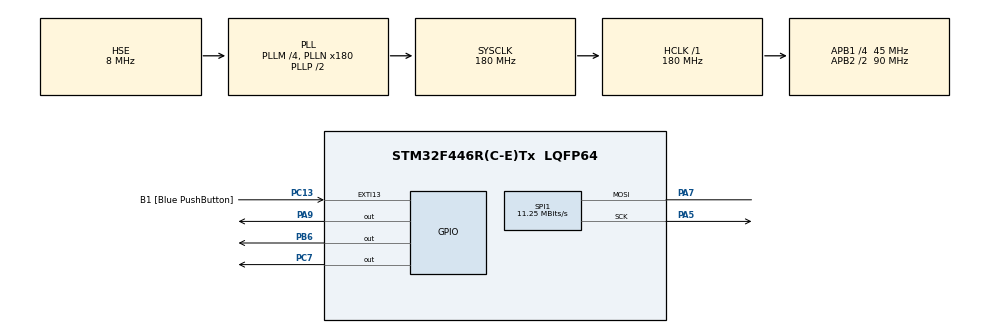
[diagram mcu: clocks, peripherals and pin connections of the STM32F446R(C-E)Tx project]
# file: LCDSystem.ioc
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Mcu.Family=STM32F4
Mcu.Name=STM32F446R(C-E)Tx
Mcu.Package=LQFP64
NVIC.PriorityGroup=NVIC_PRIORITYGROUP_0
PA13.GPIO_Label=TMS
PA13.Mode=Serial_Wire
PA13.Signal=SYS_JTMS-SWDIO
PA14.GPIO_Label=TCK
PA14.Mode=Serial_Wire
PA14.Signal=SYS_JTCK-SWCLK
PA2.GPIO_Label=USART_TX
PA2.Signal=USART2_TX
PA3.GPIO_Label=USART_RX
PA3.Signal=USART2_RX
PA5.Mode=Simplex_Bidirectional_Master
PA5.Signal=SPI1_SCK
PA7.Mode=Simplex_Bidirectional_Master
PA7.Signal=SPI1_MOSI
PA9.Signal=GPIO_Output
PB3.GPIO_Label=SWO
PB3.Signal=SYS_JTDO-SWO
PB6.Signal=GPIO_Output
PC13.GPIO_Label=B1 [Blue PushButton]
PC13.GPIO_ModeDefaultEXTI=GPIO_MODE_IT_FALLING
PC13.Signal=GPXTI13
PC14-OSC32_IN.Signal=RCC_OSC32_IN
PC15-OSC32_OUT.Signal=RCC_OSC32_OUT
PC7.Signal=GPIO_Output
PH0-OSC_IN.Mode=HSE-External-Oscillator
PH0-OSC_IN.Signal=RCC_OSC_IN
PH1-OSC_OUT.Mode=HSE-External-Oscillator
PH1-OSC_OUT.Signal=RCC_OSC_OUT
ProjectManager.HeapSize=0x200
ProjectManager.StackSize=0x400
ProjectManager.TargetToolchain=STM32CubeIDE
RCC.48MHZClocksFreq_Value=84000000
RCC.AHBFreq_Value=180000000
RCC.APB1CLKDivider=RCC_HCLK_DIV4
RCC.APB1Freq_Value=45000000
RCC.APB1TimFreq_Value=90000000
RCC.APB2CLKDivider=RCC_HCLK_DIV2
RCC.APB2Freq_Value=90000000
RCC.APB2TimFreq_Value=180000000
RCC.CortexFreq_Value=180000000
RCC.FLatency-AdvancedSettings=FLASH_LATENCY_5
RCC.HCLKFreq_Value=180000000
RCC.HSE_VALUE=8000000
RCC.HSI_VALUE=16000000
RCC.PLLM=4
RCC.PLLN=180
RCC.PLLSourceVirtual=RCC_PLLSOURCE_HSE
RCC.SYSCLKFreq_VALUE=180000000
RCC.SYSCLKSource=RCC_SYSCLKSOURCE_PLLCLK
RCC.USBFreq_Value=180000000
RCC.VCOOutputFreq_Value=360000000
SPI1.BaudRatePrescaler=SPI_BAUDRATEPRESCALER_8
SPI1.CalculateBaudRate=11.25 MBits/s
SPI1.Direction=SPI_DIRECTION_1LINE
SPI1.Mode=SPI_MODE_MASTER
SPI1.VirtualType=VM_MASTER
board=NUCLEO-F446RE

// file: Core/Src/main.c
/* USER CODE BEGIN Header */
/**
  * Deepak Shenoy
  * LCD Screen Interface
  * Oct 29, 2025
  *
  *
  ******************************************************************************
  * @file           : main.c
  * @brief          : Main program body
  ******************************************************************************
  * @attention
  *
  * Copyright (c) 2025 STMicroelectronics.
  * All rights reserved.
  *
  * This software is licensed under terms that can be found in the LICENSE file
  * in the root directory of this software component.
  * If no LICENSE file comes with this software, it is provided AS-IS.
  *
  ******************************************************************************
  */
/* USER CODE END Header */
#include "main.h"

/* USER CODE BEGIN Includes */
#include "ST7735.h"
#include "GFX_FUNCTIONS.h"
/* USER CODE END Includes */

SPI_HandleTypeDef hspi1;

void SystemClock_Config(void);
static void MX_GPIO_Init(void);
static void MX_SPI1_Init(void);

int main(void)
{

  /* MCU Configuration--------------------------------------------------------*/

  /* Reset of all peripherals, Initializes the Flash interface and the Systick. */
  HAL_Init();

  /* Configure the system clock */
  SystemClock_Config();

  /* Initialize all configured peripherals */
  MX_GPIO_Init();
  MX_SPI1_Init();
  /* USER CODE BEGIN 2 */
  ST7735_Init(0);
  fillScreen(BLACK);
  //testAll();

  /* USER CODE END 2 */

  /* Infinite loop */
  /* USER CODE BEGIN WHILE */
  while (1)
  {
	  ST7735_SetRotation(1);
	  ST7735_WriteString(0, 00, "LHR -> ATL (Late)    ", Font_7x10, RED, BLACK);
	  HAL_Delay(2000);
	  ST7735_WriteString(0, 20, "SEA -> ATL (On Time)  ", Font_7x10, BLUE, BLACK);
	  HAL_Delay(2000);
	  ST7735_WriteString(0, 40, "ZRH -> ATL (Approach) ", Font_7x10, YELLOW, BLACK);
	  HAL_Delay(2000);
	  ST7735_WriteString(0, 00, "LHR -> ATL (Landing)  ", Font_7x10, MAGENTA, BLACK);
	  HAL_Delay(2000);
	  ST7735_WriteString(0, 20, "SEA -> ATL (Landing)  ", Font_7x10, MAGENTA, BLACK);
	  HAL_Delay(2000);
	  ST7735_WriteString(0, 00, "LHR -> ATL (Taxi)     ", Font_7x10, CYAN, BLACK);
	  ST7735_WriteString(0, 60, "SYD -> ATL (Approach) ", Font_7x10, YELLOW, BLACK);
	  ST7735_WriteString(0, 80, "FCO -> ATL (Approach) ", Font_7x10, YELLOW, BLACK);
	  HAL_Delay(2000);
	  ST7735_WriteString(0, 20, "SEA -> ATL (Taxi)   ", Font_7x10, CYAN, BLACK);
	  HAL_Delay(2000);
	  ST7735_WriteString(0, 40, "ZRH -> ATL (Landing)  ", Font_7x10, BLUE, BLACK);
	  ST7735_WriteString(0, 00, "LHR -> ATL (Gate)     ", Font_7x10, WHITE, BLACK);
	  ST7735_WriteString(0, 20, "SEA -> ATL (Gate)     ", Font_7x10, WHITE, BLACK);
	  HAL_Delay(2000);
	  ST7735_WriteString(0, 80, "FCO -> ATL (Landing) ", Font_7x10, MAGENTA, BLACK);
	  HAL_Delay(2000);
	  ST7735_WriteString(0, 80, "FCO -> ATL (Taxi)    ", Font_7x10, CYAN, BLACK);
	  HAL_Delay(2000);
	  ST7735_WriteString(0, 40, "ZRH -> ATL (Taxi)   ", Font_7x10, CYAN, BLACK);
	  HAL_Delay(2000);
	  ST7735_WriteString(0, 60, "SYD -> ATL (Landing) ", Font_7x10, MAGENTA, BLACK);
	  HAL_Delay(2000);
	  ST7735_WriteString(0, 80, "FCO -> ATL (Gate)     ", Font_7x10, WHITE, BLACK);
	  HAL_Delay(2000);
	  ST7735_WriteString(0, 40, "ZRH -> ATL (Gate)    ", Font_7x10, WHITE, BLACK);
	  HAL_Delay(2000);
	  ST7735_WriteString(0, 60, "SYD -> ATL (Taxi)     ", Font_7x10, CYAN, BLACK);
	  HAL_Delay(2000);
	  ST7735_WriteString(0, 60, "SYD -> ATL (Gate)     ", Font_7x10, WHITE, BLACK);
	  HAL_Delay(4000);
	  fillScreen(BLACK);
    /* USER CODE END WHILE */

  }
}

void SystemClock_Config(void)
{
  RCC_OscInitTypeDef RCC_OscInitStruct = {0};
  RCC_ClkInitTypeDef RCC_ClkInitStruct = {0};

  /** Configure the main internal regulator output voltage
  */
  __HAL_RCC_PWR_CLK_ENABLE();
  __HAL_PWR_VOLTAGESCALING_CONFIG(PWR_REGULATOR_VOLTAGE_SCALE1);

  /** Initializes the RCC Oscillators according to the specified parameters
  * in the RCC_OscInitTypeDef structure.
  */
  RCC_OscInitStruct.OscillatorType = RCC_OSCILLATORTYPE_HSE;
  RCC_OscInitStruct.HSEState = RCC_HSE_ON;
  RCC_OscInitStruct.PLL.PLLState = RCC_PLL_ON;
  RCC_OscInitStruct.PLL.PLLSource = RCC_PLLSOURCE_HSE;
  RCC_OscInitStruct.PLL.PLLM = 4;
  RCC_OscInitStruct.PLL.PLLN = 180;
  RCC_OscInitStruct.PLL.PLLP = RCC_PLLP_DIV2;
  RCC_OscInitStruct.PLL.PLLQ = 2;
  RCC_OscInitStruct.PLL.PLLR = 2;
  if (HAL_RCC_OscConfig(&RCC_OscInitStruct) != HAL_OK)
  {
    Error_Handler();
  }

  /** Activate the Over-Drive mode
  */
  if (HAL_PWREx_EnableOverDrive() != HAL_OK)
  {
    Error_Handler();
  }

  /** Initializes the CPU, AHB and APB buses clocks
  */
  RCC_ClkInitStruct.ClockType = RCC_CLOCKTYPE_HCLK|RCC_CLOCKTYPE_SYSCLK
                              |RCC_CLOCKTYPE_PCLK1|RCC_CLOCKTYPE_PCLK2;
  RCC_ClkInitStruct.SYSCLKSource = RCC_SYSCLKSOURCE_PLLCLK;
  RCC_ClkInitStruct.AHBCLKDivider = RCC_SYSCLK_DIV1;
  RCC_ClkInitStruct.APB1CLKDivider = RCC_HCLK_DIV4;
  RCC_ClkInitStruct.APB2CLKDivider = RCC_HCLK_DIV2;

  if (HAL_RCC_ClockConfig(&RCC_ClkInitStruct, FLASH_LATENCY_5) != HAL_OK)
  {
    Error_Handler();
  }
}

static void MX_SPI1_Init(void)
{

  /* SPI1 parameter configuration*/
  hspi1.Instance = SPI1;
  hspi1.Init.Mode = SPI_MODE_MASTER;
  hspi1.Init.Direction = SPI_DIRECTION_1LINE;
  hspi1.Init.DataSize = SPI_DATASIZE_8BIT;
  hspi1.Init.CLKPolarity = SPI_POLARITY_LOW;
  hspi1.Init.CLKPhase = SPI_PHASE_1EDGE;
  hspi1.Init.NSS = SPI_NSS_SOFT;
  hspi1.Init.BaudRatePrescaler = SPI_BAUDRATEPRESCALER_8;
  hspi1.Init.FirstBit = SPI_FIRSTBIT_MSB;
  hspi1.Init.TIMode = SPI_TIMODE_DISABLE;
  hspi1.Init.CRCCalculation = SPI_CRCCALCULATION_DISABLE;
  hspi1.Init.CRCPolynomial = 10;
  if (HAL_SPI_Init(&hspi1) != HAL_OK)
  {
    Error_Handler();
  }

}

static void MX_GPIO_Init(void)
{
  GPIO_InitTypeDef GPIO_InitStruct = {0};

  /* GPIO Ports Clock Enable */
  __HAL_RCC_GPIOC_CLK_ENABLE();
  __HAL_RCC_GPIOH_CLK_ENABLE();
  __HAL_RCC_GPIOA_CLK_ENABLE();
  __HAL_RCC_GPIOB_CLK_ENABLE();

  /*Configure GPIO pin Output Level */
  HAL_GPIO_WritePin(GPIOC, GPIO_PIN_7, GPIO_PIN_RESET);

  /*Configure GPIO pin Output Level */
  HAL_GPIO_WritePin(GPIOA, GPIO_PIN_9, GPIO_PIN_RESET);

  /*Configure GPIO pin Output Level */
  HAL_GPIO_WritePin(GPIOB, GPIO_PIN_6, GPIO_PIN_RESET);

  /*Configure GPIO pin : B1_Pin */
  GPIO_InitStruct.Pin = B1_Pin;
  GPIO_InitStruct.Mode = GPIO_MODE_IT_FALLING;
  GPIO_InitStruct.Pull = GPIO_NOPULL;
  HAL_GPIO_Init(B1_GPIO_Port, &GPIO_InitStruct);

  /*Configure GPIO pins : USART_TX_Pin USART_RX_Pin */
  GPIO_InitStruct.Pin = USART_TX_Pin|USART_RX_Pin;
  GPIO_InitStruct.Mode = GPIO_MODE_AF_PP;
  GPIO_InitStruct.Pull = GPIO_NOPULL;
  GPIO_InitStruct.Speed = GPIO_SPEED_FREQ_VERY_HIGH;
  GPIO_InitStruct.Alternate = GPIO_AF7_USART2;
  HAL_GPIO_Init(GPIOA, &GPIO_InitStruct);

  /*Configure GPIO pin : PC7 */
  GPIO_InitStruct.Pin = GPIO_PIN_7;
  GPIO_InitStruct.Mode = GPIO_MODE_OUTPUT_PP;
  GPIO_InitStruct.Pull = GPIO_NOPULL;
  GPIO_InitStruct.Speed = GPIO_SPEED_FREQ_LOW;
  HAL_GPIO_Init(GPIOC, &GPIO_InitStruct);

  /*Configure GPIO pin : PA9 */
  GPIO_InitStruct.Pin = GPIO_PIN_9;
  GPIO_InitStruct.Mode = GPIO_MODE_OUTPUT_PP;
  GPIO_InitStruct.Pull = GPIO_NOPULL;
  GPIO_InitStruct.Speed = GPIO_SPEED_FREQ_LOW;
  HAL_GPIO_Init(GPIOA, &GPIO_InitStruct);

  /*Configure GPIO pin : PB6 */
  GPIO_InitStruct.Pin = GPIO_PIN_6;
  GPIO_InitStruct.Mode = GPIO_MODE_OUTPUT_PP;
  GPIO_InitStruct.Pull = GPIO_NOPULL;
  GPIO_InitStruct.Speed = GPIO_SPEED_FREQ_LOW;
  HAL_GPIO_Init(GPIOB, &GPIO_InitStruct);

}

void Error_Handler(void)
{
  __disable_irq();
  while (1)
  {
  }
}
